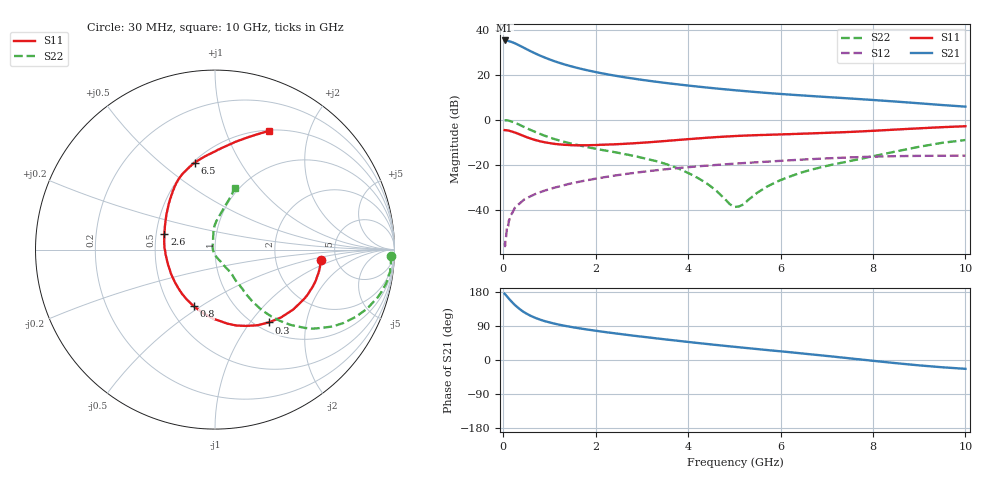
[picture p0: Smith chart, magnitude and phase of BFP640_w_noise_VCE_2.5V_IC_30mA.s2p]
! Infineon Technologies  Discrete & RF Semiconductors
! BFP640
! VCE =  2.5 V,  IC =  30 mA
! Common Emitter S-Parameters:  Apr 2013
# GHz  S  MA  R  50
!  f  S11  S21  S12  S22
! GHz  MAG  ANG  MAG  ANG  MAG  ANG  MAG  ANG
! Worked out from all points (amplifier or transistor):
!   99 points, 30 MHz to 10 GHz, reference 50 ohm
!   highest |S21| = 35.2 dB at 30 MHz (marker M1)
!   |S21| within 3 dB of that: start of sweep to 424 MHz
!   unconditionally stable (mu >= 1): 2.23 GHz to end of sweep
!   at 350 MHz: K = 0.37, MSG = 35.0 dB, |S12| = -37.1 dB
!   at 3.5 GHz: K = 1.05, MAG = 17.8 dB, |S12| = -21.9 dB
!   at 10 GHz: K = 1.06, MAG = 9.3 dB, |S12| = -15.8 dB
!   lowest NFmin = 1.07 dB at 450 MHz
!   S11 on the Smith chart (normalised r, x): 30 MHz: 3.82, -0.66; 300 MHz: 1.14, -1.24; 800 MHz: 0.66, -0.47; 2.6 GHz: 0.55, +0.11; 6.5 GHz: 0.51, +0.66; 10 GHz: 0.51, +1.43
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0.03  0.5957 -5.4  57.67 175.1  0.0019 90.2  0.98 -2.0
0.08  0.5879 -15.3  57 167.9  0.0041 81.3  0.9786 -8.3
0.15  0.5687 -28.6  54.71 158.1  0.0075 77.8  0.9458 -16.2
0.2  0.5492 -37.4  52.47 151.6  0.0088 76.1  0.9095 -21.2
0.25  0.5276 -45.7  50.03 145.5  0.0113 72.4  0.8688 -25.6
0.3  0.5049 -53.5  47.26 140.0  0.0127 71.1  0.8261 -29.6
0.4  0.4589 -67.9  42.04 130.4  0.0155 68.7  0.7399 -36.1
0.5  0.4185 -80.4  37.21 122.6  0.0183 66.0  0.6635 -41.1
0.6  0.3847 -91.6  33.03 116.2  0.0206 64.3  0.5965 -44.8
0.7  0.3576 -101.6  29.51 110.9  0.023 62.8  0.5385 -47.6
0.8  0.3363 -110.8  26.54 106.4  0.0251 61.9  0.489 -49.8
1  0.3073 -126.7  21.95 99.3  0.0293 61.0  0.4111 -52.7
1.2  0.2886 -140.4  18.62 93.5  0.0334 59.9  0.3535 -54.2
1.7  0.2741 -166.5  13.45 82.6  0.0439 57.9  0.2655 -55.0
2.1  0.2818 178.2  10.97 75.5  0.0519 55.4  0.22 -56.1
2.6  0.2951 162.8  8.912 67.6  0.0624 52.1  0.1773 -55.9
3.4  0.3357 143.5  6.834 55.9  0.0787 45.6  0.115 -59.2
5.1  0.4441 116.7  4.472 33.6  0.1092 30.9  0.0121 179.2
6.5  0.4975 103.0  3.477 16.9  0.133 18.6  0.0708 98.3
6.7  0.5055 100.8  3.371 14.4  0.136 16.8  0.0807 96.7
8.5  0.613 79.0  2.552 -8.4  0.1579 -1.4  0.2007 81.3
10  0.726 65.6  1.973 -23.3  0.1618 -13.4  0.3595 72.2
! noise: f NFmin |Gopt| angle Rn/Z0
0.45  1.07  0.19  -171  0.03
0.9  1.08  0.2  -159  0.04
1.5  1.09  0.23  -144  0.06
1.9  1.1  0.24  -135  0.07
2.4  1.13  0.27  -122  0.09
3.5  1.26  0.31  -105  0.13
5.5  1.46  0.33  -92  0.21
10  1.93  0.6  -52  0.58
